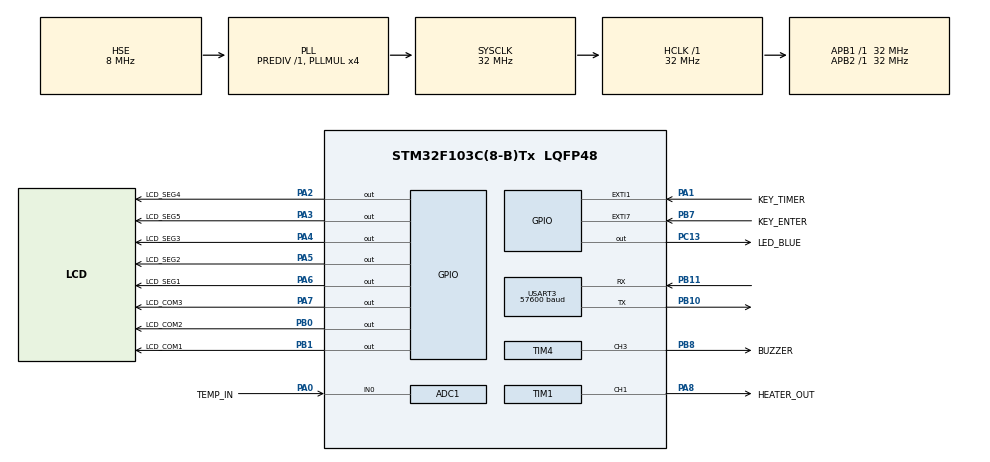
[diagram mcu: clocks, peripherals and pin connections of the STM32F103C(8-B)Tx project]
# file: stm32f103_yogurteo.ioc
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ADC1.Channel-0\#ChannelRegularConversion=ADC_CHANNEL_0
ADC1.ContinuousConvMode=ENABLE
ADC1.NbrOfConversionFlag=1
ADC1.Rank-0\#ChannelRegularConversion=1
ADC1.SamplingTime-0\#ChannelRegularConversion=ADC_SAMPLETIME_239CYCLES_5
ADC1.master=1
Mcu.Family=STM32F1
Mcu.Name=STM32F103C(8-B)Tx
Mcu.Package=LQFP48
NVIC.EXTI1_IRQn=true\:0\:0\:false\:false\:true
NVIC.EXTI9_5_IRQn=true\:0\:0\:false\:false\:true
NVIC.PriorityGroup=NVIC_PRIORITYGROUP_4
NVIC.TIM3_IRQn=true\:0\:0\:false\:false\:true
PA0-WKUP.GPIO_Label=TEMP_IN
PA0-WKUP.Signal=ADCx_IN0
PA1.GPIO_Label=KEY_TIMER
PA1.GPIO_ModeDefaultEXTI=GPIO_MODE_IT_RISING_FALLING
PA1.GPIO_PuPd=GPIO_PULLDOWN
PA1.Signal=GPXTI1
PA2.GPIO_Label=LCD_SEG4
PA2.GPIO_Speed=GPIO_SPEED_FREQ_MEDIUM
PA2.PinState=GPIO_PIN_SET
PA2.Signal=GPIO_Output
PA3.GPIO_Label=LCD_SEG5
PA3.GPIO_ModeDefaultOutputPP=GPIO_MODE_OUTPUT_PP
PA3.GPIO_Speed=GPIO_SPEED_FREQ_MEDIUM
PA3.PinState=GPIO_PIN_SET
PA3.Signal=GPIO_Output
PA4.GPIO_Label=LCD_SEG3
PA4.GPIO_Speed=GPIO_SPEED_FREQ_MEDIUM
PA4.PinState=GPIO_PIN_SET
PA4.Signal=GPIO_Output
PA5.GPIO_Label=LCD_SEG2
PA5.GPIO_ModeDefaultOutputPP=GPIO_MODE_OUTPUT_PP
PA5.GPIO_Speed=GPIO_SPEED_FREQ_MEDIUM
PA5.PinState=GPIO_PIN_SET
PA5.Signal=GPIO_Output
PA6.GPIO_Label=LCD_SEG1
PA6.GPIO_ModeDefaultOutputPP=GPIO_MODE_OUTPUT_PP
PA6.GPIO_Speed=GPIO_SPEED_FREQ_MEDIUM
PA6.PinState=GPIO_PIN_SET
PA6.Signal=GPIO_Output
PA7.GPIO_Label=LCD_COM3
PA7.GPIO_ModeDefaultOutputPP=GPIO_MODE_OUTPUT_PP
PA7.GPIO_Speed=GPIO_SPEED_FREQ_MEDIUM
PA7.PinState=GPIO_PIN_SET
PA7.Signal=GPIO_Output
PA8.GPIO_Label=HEATER_OUT
PA8.Signal=S_TIM1_CH1
PB0.GPIO_Label=LCD_COM2
PB0.GPIO_Speed=GPIO_SPEED_FREQ_MEDIUM
PB0.PinState=GPIO_PIN_SET
PB0.Signal=GPIO_Output
PB1.GPIO_Label=LCD_COM1
PB1.GPIO_Speed=GPIO_SPEED_FREQ_MEDIUM
PB1.PinState=GPIO_PIN_SET
PB1.Signal=GPIO_Output
PB10.Mode=Asynchronous
PB10.Signal=USART3_TX
PB11.Mode=Asynchronous
PB11.Signal=USART3_RX
PB7.GPIO_Label=KEY_ENTER
PB7.GPIO_ModeDefaultEXTI=GPIO_MODE_IT_RISING_FALLING
PB7.GPIO_PuPd=GPIO_PULLDOWN
PB7.Signal=GPXTI7
PB8.GPIO_Label=BUZZER
PB8.Signal=S_TIM4_CH3
PC13-TAMPER-RTC.GPIO_Label=LED_BLUE
PC13-TAMPER-RTC.Signal=GPIO_Output
PC14-OSC32_IN.Mode=LSE-External-Oscillator
PC14-OSC32_IN.Signal=RCC_OSC32_IN
PC15-OSC32_OUT.Mode=LSE-External-Oscillator
PC15-OSC32_OUT.Signal=RCC_OSC32_OUT
PD0-OSC_IN.Mode=HSE-External-Oscillator
PD0-OSC_IN.Signal=RCC_OSC_IN
PD1-OSC_OUT.Mode=HSE-External-Oscillator
PD1-OSC_OUT.Signal=RCC_OSC_OUT
ProjectManager.HeapSize=0x1000
ProjectManager.StackSize=0x400
ProjectManager.TargetToolchain=MDK-ARM V5
RCC.ADCPresc=RCC_ADCPCLK2_DIV6
RCC.AHBFreq_Value=32000000
RCC.APB1Freq_Value=32000000
RCC.APB1TimFreq_Value=32000000
RCC.APB2Freq_Value=32000000
RCC.APB2TimFreq_Value=32000000
RCC.HCLKFreq_Value=32000000
RCC.HSIState=RCC_HSI_ON
RCC.PLLMUL=RCC_PLL_MUL4
RCC.PLLSourceVirtual=RCC_PLLSOURCE_HSE
RCC.RTCClockSelection=RCC_RTCCLKSOURCE_LSE
RCC.SYSCLKFreq_VALUE=32000000
RCC.SYSCLKSource=RCC_SYSCLKSOURCE_PLLCLK
RCC.USBFreq_Value=32000000
SH.ADCx_IN0.0=ADC1_IN0,IN0
SH.S_TIM1_CH1.0=TIM1_CH1,PWM Generation1 CH1
SH.S_TIM4_CH3.0=TIM4_CH3,PWM Generation3 CH3
TIM1.OCIdleState_1=TIM_OCIDLESTATE_SET
TIM1.OCPolarity_1=TIM_OCPOLARITY_LOW
TIM1.Period=999
TIM1.Prescaler=32000
TIM3.Period=5
TIM3.Prescaler=31999
TIM3.TIM_MasterOutputTrigger=TIM_TRGO_UPDATE
TIM4.Channel-PWM\ Generation3\ CH3=TIM_CHANNEL_3
TIM4.OCPolarity_3=TIM_OCPOLARITY_LOW
TIM4.Period=5000
TIM4.Prescaler=2
TIM4.Pulse-PWM\ Generation3\ CH3=100
USART3.BaudRate=57600
VP_SYS_VS_ND.Mode=No_Debug
VP_TIM1_VS_ClockSourceINT.Mode=Internal
VP_TIM3_VS_ClockSourceINT.Mode=Internal
VP_TIM4_VS_ClockSourceINT.Mode=Internal
board=stm32f103_yogurteo

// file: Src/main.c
/**
  ******************************************************************************
  * File Name          : main.c
  * Description        : Main program body
  ******************************************************************************
  *
  * COPYRIGHT(c) 2017 STMicroelectronics
  *
  * Redistribution and use in source and binary forms, with or without modification,
  * are permitted provided that the following conditions are met:
  *   1. Redistributions of source code must retain the above copyright notice,
  *      this list of conditions and the following disclaimer.
  *   2. Redistributions in binary form must reproduce the above copyright notice,
  *      this list of conditions and the following disclaimer in the documentation
  *      and/or other materials provided with the distribution.
  *   3. Neither the name of STMicroelectronics nor the names of its contributors
  *      may be used to endorse or promote products derived from this software
  *      without specific prior written permission.
  *
  * THIS SOFTWARE IS PROVIDED BY THE COPYRIGHT HOLDERS AND CONTRIBUTORS "AS IS"
  * AND ANY EXPRESS OR IMPLIED WARRANTIES, INCLUDING, BUT NOT LIMITED TO, THE
  * IMPLIED WARRANTIES OF MERCHANTABILITY AND FITNESS FOR A PARTICULAR PURPOSE ARE
  * DISCLAIMED. IN NO EVENT SHALL THE COPYRIGHT HOLDER OR CONTRIBUTORS BE LIABLE
  * FOR ANY DIRECT, INDIRECT, INCIDENTAL, SPECIAL, EXEMPLARY, OR CONSEQUENTIAL
  * DAMAGES (INCLUDING, BUT NOT LIMITED TO, PROCUREMENT OF SUBSTITUTE GOODS OR
  * SERVICES; LOSS OF USE, DATA, OR PROFITS; OR BUSINESS INTERRUPTION) HOWEVER
  * CAUSED AND ON ANY THEORY OF LIABILITY, WHETHER IN CONTRACT, STRICT LIABILITY,
  * OR TORT (INCLUDING NEGLIGENCE OR OTHERWISE) ARISING IN ANY WAY OUT OF THE USE
  * OF THIS SOFTWARE, EVEN IF ADVISED OF THE POSSIBILITY OF SUCH DAMAGE.
  *
  ******************************************************************************
  */
#include "main.h"
#include "stm32f1xx_hal.h"
#include "adc.h"
#include "tim.h"
#include "usart.h"
#include "gpio.h"

/* USER CODE BEGIN Includes */
#include "key_state.h"
#include "lcd_yogurteo.h"
#include "pid.h"

#include <stdbool.h>
#include <string.h>
#include <stdlib.h>

/* USER CODE END Includes */

/* USER CODE BEGIN PV */
/* Private variables ---------------------------------------------------------*/
KeyState KeyEnter = KeyStateNone;
KeyState KeyTimer = KeyStateNone;

typedef enum StepControlState StepControlState;
enum StepControlState
{
    StepControlStateNone,
    StepControlStateUp,
    StepControlStateDown
};

static StepControlState stepControlState = StepControlStateNone;

#define TempSPx100 4000
#define MaxPidDuty 100
#define MinPidDuty 0
#define ONE_HOUR (60 * 60 * 1000)

static uint8_t hoursLeft = 4;
static uint8_t LcdNumber = 4;
static bool blink5ms = false;
static int32_t pidDuty = 0;
static int32_t oldPidDuty = 0;
static bool isPrintHours = false;
static uint32_t buzzerTickOff = 0;
static uint32_t heaterTickOff = 0;
static bool HeaterOn = false;
//static uint32_t segNum = 0;
//static uint32_t comNum = 0;

static PidData pid;

/* USER CODE END PV */

void SystemClock_Config(void);
void Error_Handler(void);

/* USER CODE BEGIN PFP */
/* Private function prototypes -----------------------------------------------*/

/* USER CODE END PFP */

/* USER CODE BEGIN 0 */
void DebugPrint(const char* s)
{
    //HAL_UART_Transmit(&huart3, (uint8_t*)s, strlen(s), 100);
}

/*void DebugLCD(void)
{
    char s[32];
    sprintf(s, "Com: %d; Segment: %d\r\n", comNum + 1, segNum + 1);
    DebugPrint(s);
    bool blink = !blink5ms;
    switch (comNum)
    {
        case 0:
            HAL_GPIO_WritePin(LCD_COM1_GPIO_Port, LCD_COM1_Pin, blink5ms ? GPIO_PIN_SET : GPIO_PIN_RESET);
            break;
        case 1:
            HAL_GPIO_WritePin(LCD_COM2_GPIO_Port, LCD_COM2_Pin, blink5ms ? GPIO_PIN_SET : GPIO_PIN_RESET);
            break;
        case 2:
            HAL_GPIO_WritePin(LCD_COM3_GPIO_Port, LCD_COM3_Pin, blink5ms ? GPIO_PIN_SET : GPIO_PIN_RESET);
            break;
    }
    switch (segNum)
    {
        case 0:
            HAL_GPIO_WritePin(LCD_SEG1_GPIO_Port, LCD_SEG1_Pin, blink ? GPIO_PIN_SET : GPIO_PIN_RESET);
            break;
        case 1:
            HAL_GPIO_WritePin(LCD_SEG2_GPIO_Port, LCD_SEG2_Pin, blink ? GPIO_PIN_SET : GPIO_PIN_RESET);
            break;
        case 2:
            HAL_GPIO_WritePin(LCD_SEG3_GPIO_Port, LCD_SEG3_Pin, blink ? GPIO_PIN_SET : GPIO_PIN_RESET);
            break;
        case 3:
            HAL_GPIO_WritePin(LCD_SEG4_GPIO_Port, LCD_SEG4_Pin, blink ? GPIO_PIN_SET : GPIO_PIN_RESET);
            break;
        case 4:
            HAL_GPIO_WritePin(LCD_SEG5_GPIO_Port, LCD_SEG5_Pin, blink ? GPIO_PIN_SET : GPIO_PIN_RESET);
            break;
}*/

void OnLcdUpdate(void)
{
    PrintLcd(LcdNumber, blink5ms);
    blink5ms = !blink5ms;
}

void PWM_ConfigureChannel(TIM_HandleTypeDef* htim, uint32_t channel, uint32_t pulse)
{
    TIM_OC_InitTypeDef sConfigOC;
    sConfigOC.OCMode = TIM_OCMODE_PWM1;
    sConfigOC.Pulse = pulse;
    sConfigOC.OCPolarity = TIM_OCPOLARITY_LOW;
    sConfigOC.OCNPolarity = TIM_OCNPOLARITY_HIGH;
    sConfigOC.OCFastMode = TIM_OCFAST_DISABLE;
    sConfigOC.OCIdleState = TIM_OCIDLESTATE_SET;
    sConfigOC.OCNIdleState = TIM_OCNIDLESTATE_RESET;
    if (HAL_TIM_PWM_ConfigChannel(htim, &sConfigOC, channel) != HAL_OK)
    {
        Error_Handler();
    }
}

void PWM_SetChannelPercent(TIM_HandleTypeDef* htim, uint32_t channel, int32_t percent)
{
    if (percent >100)
        percent = 100;
    else
    if (percent < 0)
        percent = 0;
    HAL_TIM_PWM_Stop(htim, channel);
    PWM_ConfigureChannel(htim, channel, (htim->Init.Period + 1) * percent / 100);
    HAL_TIM_PWM_Start(htim, channel);
}

bool LimitOutput(void)
{
    if (pidDuty > MaxPidDuty)
        pidDuty = MaxPidDuty;
    else if (pidDuty < MinPidDuty)
        pidDuty = MinPidDuty;
    bool res = pidDuty != oldPidDuty;
    oldPidDuty = pidDuty;
    return res;
}

bool StepControl(int32_t Temp)
{
    #define Hysteresis 10
    switch (stepControlState)
    {
        case StepControlStateNone:
            if (abs(Temp - TempSPx100) > Hysteresis)
                stepControlState = Temp > TempSPx100 ? StepControlStateDown : StepControlStateUp;
            break;
        case StepControlStateUp:
            if (Temp < TempSPx100 - Hysteresis)
                ++pidDuty;
            else
                stepControlState = StepControlStateNone;
            break;
        case StepControlStateDown:
            if (Temp > TempSPx100 + Hysteresis)
                --pidDuty;
            else
                stepControlState = StepControlStateNone;
            break;
    }
    return LimitOutput();
}

bool PidControl(int32_t Temp)
{
    pidDuty = PControllerExecute(TempSPx100, Temp, &pid);
    return LimitOutput();
}

void BuzzerOn(void)
{
    HAL_TIM_PWM_Start(&htim4, TIM_CHANNEL_3);//BUZZER
}

void BuzzerOff(void)
{
    HAL_TIM_PWM_Stop(&htim4, TIM_CHANNEL_3);//BUZZER
}

void BuzzerStartForTime(uint32_t ms)
{
    BuzzerOn();
    buzzerTickOff = HAL_GetTick() + ms;
}

void SwitchOffHeater(uint32_t buzzerMs)
{
    HeaterOn = false;
    pidDuty = 0;
    oldPidDuty = 0;
    heaterTickOff = 0;
    hoursLeft = 0;
    PidControllerReset(&pid);
    PWM_SetChannelPercent(&htim1, TIM_CHANNEL_1, pidDuty);
    DebugPrint("Regulator stops!\r\n");
    BuzzerStartForTime(buzzerMs);
}

/* USER CODE END 0 */

int main(void)
{

  /* MCU Configuration----------------------------------------------------------*/

  /* Reset of all peripherals, Initializes the Flash interface and the Systick. */
  HAL_Init();

  /* Configure the system clock */
  SystemClock_Config();

  /* Initialize all configured peripherals */
  MX_GPIO_Init();
  MX_TIM4_Init();
  MX_ADC1_Init();
  MX_TIM1_Init();
  MX_USART3_UART_Init();
  MX_TIM3_Init();

  /* Infinite loop */
  /* USER CODE BEGIN WHILE */
  uint32_t tickstart250ms = 0;
  uint32_t tickstart5ms = 0;
  uint32_t tickstart3sec = 0;
  uint32_t currenttick = 0;
  uint32_t Tmax = 0;
  uint32_t Tmin = 0xFFFF;
  uint8_t TemperatureInt = 0;

  PidControllerInit(10, 30, 0, 4, &pid);

  tickstart250ms = HAL_GetTick();
  tickstart5ms = tickstart250ms;
  tickstart3sec = tickstart250ms;

  HAL_ADC_Start(&hadc1);
  PWM_SetChannelPercent(&htim1, TIM_CHANNEL_1, pidDuty);
  HAL_TIM_Base_Start_IT(&htim3);

  DebugPrint("\r\nYOGURTEO v1.0\r\n\r\n");

  while (1)
  {
  /* USER CODE END WHILE */

  /* USER CODE BEGIN 3 */
      currenttick = HAL_GetTick();
      if (currenttick - tickstart250ms >= 250)
      {
          HAL_GPIO_TogglePin(LED_BLUE_GPIO_Port, LED_BLUE_Pin);
          tickstart250ms = currenttick;
          if (HAL_ADC_PollForConversion(&hadc1, 100) == HAL_OK)
          {
              uint32_t val = HAL_ADC_GetValue(&hadc1);
              uint32_t t = val*15000/4096;
              if (t > Tmax)
              {
                  Tmax = t;
                  Tmin = t;
              }
              else if (t < Tmin)
              {
                  Tmin = t;
              }
              TemperatureInt = t / 100;
              if (HeaterOn)
              {
                  char sOut[32];
                  //if (StepControl(t))
                  if (PidControl(t))
                  {
                      if (t < 1000 || t > 6000)
                      {
                          SwitchOffHeater(1000);
                          DebugPrint("Unreal temperature! Stopping control...\r\n");
                          continue;
                      }
                      PWM_SetChannelPercent(&htim1, TIM_CHANNEL_1, pidDuty);
                      sprintf(sOut, "%d", pidDuty);
                  }
                  else
                  {
                      strcpy(sOut, "none");
                  }

                  char s[32];
                  sprintf(s, "T: %d; Tmin: %d; Tmax: %d; TempInt: %d; OUT: %s\r\n", t, Tmin, Tmax, TemperatureInt, sOut);
                  DebugPrint(s);

                  if (heaterTickOff != 0)
                  {
                      if (currenttick >= heaterTickOff)
                      {
                          DebugPrint("Time for heating ends. Yogurt is ready!\r\n");
                          SwitchOffHeater(1000);
                      }
                      else
                      {
                          uint32_t delta = heaterTickOff - currenttick;
                          hoursLeft = delta / ONE_HOUR;
                          if (delta % ONE_HOUR != 0)
                              ++hoursLeft;
                      }
                  }
              }//if HeaterOn
          }
      }
      if (currenttick - tickstart3sec >= 3000)
      {
          isPrintHours = !HeaterOn || !isPrintHours;
          if (isPrintHours)
              LcdNumber = hoursLeft;
          else
              LcdNumber = TemperatureInt;
          tickstart3sec = currenttick;
      }
      if (currenttick - tickstart5ms >= 4)
      {
          tickstart5ms = currenttick;
          if (buzzerTickOff != 0 && currenttick >= buzzerTickOff)
          {
              buzzerTickOff = 0;
              BuzzerOff();
          }
      }
      switch (KeyEnter)
      {
          case KeyStateOn:
              if (!HeaterOn)
              {
                  HeaterOn = true;
                  Tmax = 0;
                  Tmin = 0xFFFF;
                  stepControlState = StepControlStateNone;
                  pidDuty = MaxPidDuty;
                  heaterTickOff = currenttick + hoursLeft * ONE_HOUR;
                  DebugPrint("Starting regulator...\r\n");
                  BuzzerStartForTime(500);
              }
              else
              {
                  SwitchOffHeater(100);
              }
              KeyEnter = KeyStateNone;
              break;
          case KeyStateOff:
              KeyEnter = KeyStateNone;
              break;
          case KeyStateNone:
              break;
      }
      switch (KeyTimer)
      {
          case KeyStateOn:
              BuzzerStartForTime(100);
              if (!HeaterOn)
              {
                  ++hoursLeft;
                  if (hoursLeft > 9)
                      hoursLeft = 0;
                  LcdNumber = hoursLeft;
              }
              /*++segNum;
              if (segNum > 4)
              {
                  segNum = 0;
                  ++comNum;
                  if (comNum > 2)
                      comNum = 0;
              }*/
              KeyTimer = KeyStateNone;
              break;
          case KeyStateOff:
              KeyTimer = KeyStateNone;
              break;
          case KeyStateNone:
              break;
      }
  }
  /* USER CODE END 3 */

}

/** System Clock Configuration
*/
void SystemClock_Config(void)
{

  RCC_OscInitTypeDef RCC_OscInitStruct;
  RCC_ClkInitTypeDef RCC_ClkInitStruct;
  RCC_PeriphCLKInitTypeDef PeriphClkInit;

    /**Initializes the CPU, AHB and APB busses clocks
    */
  RCC_OscInitStruct.OscillatorType = RCC_OSCILLATORTYPE_HSE;
  RCC_OscInitStruct.HSEState = RCC_HSE_ON;
  RCC_OscInitStruct.HSEPredivValue = RCC_HSE_PREDIV_DIV1;
  RCC_OscInitStruct.HSIState = RCC_HSI_ON;
  RCC_OscInitStruct.PLL.PLLState = RCC_PLL_ON;
  RCC_OscInitStruct.PLL.PLLSource = RCC_PLLSOURCE_HSE;
  RCC_OscInitStruct.PLL.PLLMUL = RCC_PLL_MUL4;
  if (HAL_RCC_OscConfig(&RCC_OscInitStruct) != HAL_OK)
  {
    Error_Handler();
  }

    /**Initializes the CPU, AHB and APB busses clocks
    */
  RCC_ClkInitStruct.ClockType = RCC_CLOCKTYPE_HCLK|RCC_CLOCKTYPE_SYSCLK
                              |RCC_CLOCKTYPE_PCLK1|RCC_CLOCKTYPE_PCLK2;
  RCC_ClkInitStruct.SYSCLKSource = RCC_SYSCLKSOURCE_PLLCLK;
  RCC_ClkInitStruct.AHBCLKDivider = RCC_SYSCLK_DIV1;
  RCC_ClkInitStruct.APB1CLKDivider = RCC_HCLK_DIV1;
  RCC_ClkInitStruct.APB2CLKDivider = RCC_HCLK_DIV1;

  if (HAL_RCC_ClockConfig(&RCC_ClkInitStruct, FLASH_LATENCY_1) != HAL_OK)
  {
    Error_Handler();
  }

  PeriphClkInit.PeriphClockSelection = RCC_PERIPHCLK_ADC;
  PeriphClkInit.AdcClockSelection = RCC_ADCPCLK2_DIV6;
  if (HAL_RCCEx_PeriphCLKConfig(&PeriphClkInit) != HAL_OK)
  {
    Error_Handler();
  }

    /**Configure the Systick interrupt time
    */
  HAL_SYSTICK_Config(HAL_RCC_GetHCLKFreq()/1000);

    /**Configure the Systick
    */
  HAL_SYSTICK_CLKSourceConfig(SYSTICK_CLKSOURCE_HCLK);

  /* SysTick_IRQn interrupt configuration */
  HAL_NVIC_SetPriority(SysTick_IRQn, 0, 0);
}

void Error_Handler(void)
{
  /* USER CODE BEGIN Error_Handler */
  /* User can add his own implementation to report the HAL error return state */
  DebugPrint("Error_Handler()!!!\r\n");
  SwitchOffHeater(3000);
  while(1)
  {
  }
  /* USER CODE END Error_Handler */
}

/************************ (C) COPYRIGHT STMicroelectronics *****END OF FILE****/
